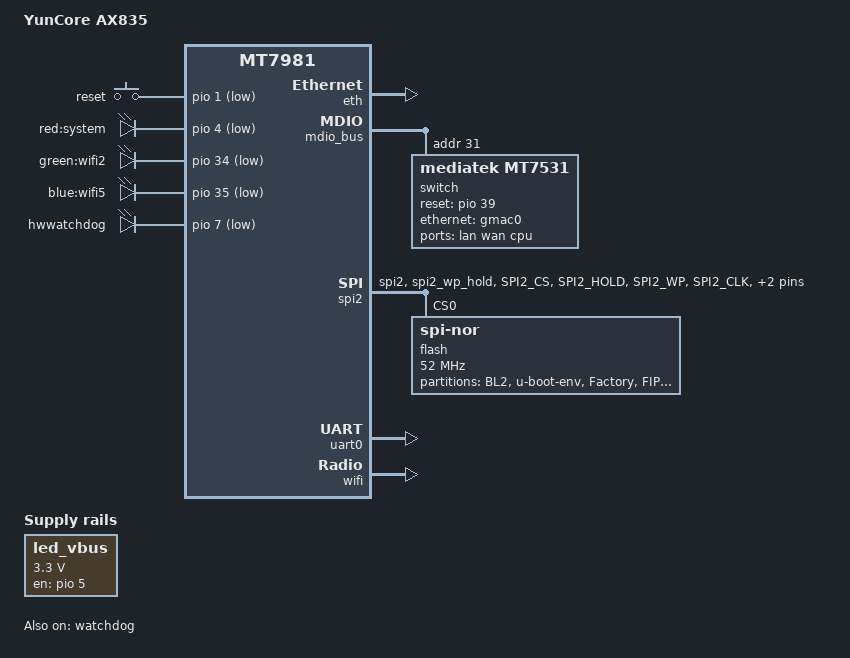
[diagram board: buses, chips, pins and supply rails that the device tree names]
// SPDX-License-Identifier: (GPL-2.0 OR MIT)

/dts-v1/;

#include "mt7981.dtsi"

/ {
	compatible = "yuncore,ax835", "mediatek,mt7981";
	model = "YunCore AX835";

	aliases {
		led-boot = &led_system;
		led-failsafe = &led_system;
		led-running = &led_system;
		led-upgrade = &led_system;
		serial0 = &uart0;
	};

	chosen {
		stdout-path = "serial0:115200n8";
	};

	gpio-keys {
		compatible = "gpio-keys";

		reset {
			label = "reset";
			linux,code = <KEY_RESTART>;
			gpios = <&pio 1 GPIO_ACTIVE_LOW>;
		};
	};

	reg_led_vbus {
		compatible = "regulator-fixed";
		regulator-name = "led_vbus";
		regulator-min-microvolt = <3300000>;
		regulator-max-microvolt = <3300000>;
		enable-active-high;
		regulator-always-on;
		gpios = <&pio 5 GPIO_ACTIVE_HIGH>;
	};

	leds {
		compatible = "gpio-leds";

		led_system: led_system {
			label = "red:system";
			gpios = <&pio 4 GPIO_ACTIVE_LOW>;
		};

		led_wifi24 {
			label = "green:wifi2";
			gpios = <&pio 34 GPIO_ACTIVE_LOW>;
			linux,default-trigger = "phy0tpt";
		};

		led_wifi5 {
			label = "blue:wifi5";
			gpios = <&pio 35 GPIO_ACTIVE_LOW>;
			linux,default-trigger = "phy1tpt";
		};

		led_hwwatchdog {
			// a gpio-wdt watchdog couldn't be made to work.
			// the device rebooted after 5 minutes.
			label = "hwwatchdog";
			gpios = <&pio 7 GPIO_ACTIVE_LOW>;
			linux,default-trigger = "timer";
			led-pattern = <1000>, <1000>;
		};

		// there's another "syswatchdog" on gpio2
	};
};

&eth {
	pinctrl-names = "default";
	pinctrl-0 = <&mdio_pins>;

	status = "okay";

	gmac0: mac@0 {
		compatible = "mediatek,eth-mac";
		reg = <0>;
		phy-mode = "2500base-x";

		nvmem-cell-names = "mac-address";
		nvmem-cells = <&macaddr_factory_2a>;

		fixed-link {
			speed = <2500>;
			full-duplex;
			pause;
		};
	};
};

&mdio_bus {
	switch: switch@1f {
		compatible = "mediatek,mt7531";
		reg = <31>;
		reset-gpios = <&pio 39 GPIO_ACTIVE_HIGH>;
	};
};

&pio {
	spi0_flash_pins: spi0-pins {
		mux {
			function = "spi";
			groups = "spi0", "spi0_wp_hold";
		};
	};

	spi2_flash_pins: spi2-pins {
		mux {
			function = "spi";
			groups = "spi2", "spi2_wp_hold";
		};

		conf-pu {
			pins = "SPI2_CS", "SPI2_HOLD", "SPI2_WP";
			drive-strength = <8>;
			bias-pull-up = <103>;
		};

		conf-pd {
			pins = "SPI2_CLK", "SPI2_MOSI", "SPI2_MISO";
			drive-strength = <8>;
			bias-pull-down = <103>;
		};
	};
};

&spi0 {
	pinctrl-names = "default";
	pinctrl-0 = <&spi0_flash_pins>;
	status = "disabled";
};

&spi2 {
	pinctrl-names = "default";
	pinctrl-0 = <&spi2_flash_pins>;
	status = "okay";

	flash@0 {
		#address-cells = <1>;
		#size-cells = <1>;

		compatible = "jedec,spi-nor";
		reg = <0>;

		spi-max-frequency = <52000000>;
		spi-tx-bus-width = <4>;
		spi-rx-bus-width = <4>;

		partitions {
			compatible = "fixed-partitions";
			#address-cells = <1>;
			#size-cells = <1>;

			partition@00000 {
				label = "BL2";
				reg = <0x00000 0x40000>;
				read-only;
			};

			partition@40000 {
				label = "u-boot-env";
				reg = <0x40000 0x10000>;
				read-only;
			};

			factory: partition@50000 {
				label = "Factory";
				reg = <0x50000 0x10000>;
				read-only;

				nvmem-layout {
					compatible = "fixed-layout";
					#address-cells = <1>;
					#size-cells = <1>;

					eeprom_factory: eeprom@0 {
						reg = <0x0 0x1000>;
					};

					macaddr_factory_4: macaddr@4 {
						reg = <0x4 0x6>;
					};

					macaddr_factory_24: macaddr@24 {
						reg = <0x24 0x6>;
					};

					macaddr_factory_2a: macaddr@2a {
						reg = <0x2a 0x6>;
					};
				};
			};

			partition@100000 {
				label = "FIP";
				reg = <0x100000 0x80000>;
				read-only;
			};

			partition@180000 {
				compatible = "denx,fit";
				label = "firmware";
				reg = <0x180000 0xe00000>;
			};
		};
	};
};

&switch {
	ports {
		#address-cells = <1>;
		#size-cells = <0>;

		port@3 {
			reg = <3>;
			label = "lan";
		};

		port@4 {
			reg = <4>;
			label = "wan";
		};

		port@6 {
			reg = <6>;
			label = "cpu";
			ethernet = <&gmac0>;
			phy-mode = "2500base-x";

			fixed-link {
				speed = <2500>;
				full-duplex;
				pause;
			};
		};
	};
};

&uart0 {
	status = "okay";
};

&watchdog {
	status = "okay";
};

&wifi {
	status = "okay";
	nvmem-cells = <&eeprom_factory 0>;
	nvmem-cell-names = "eeprom";
};
